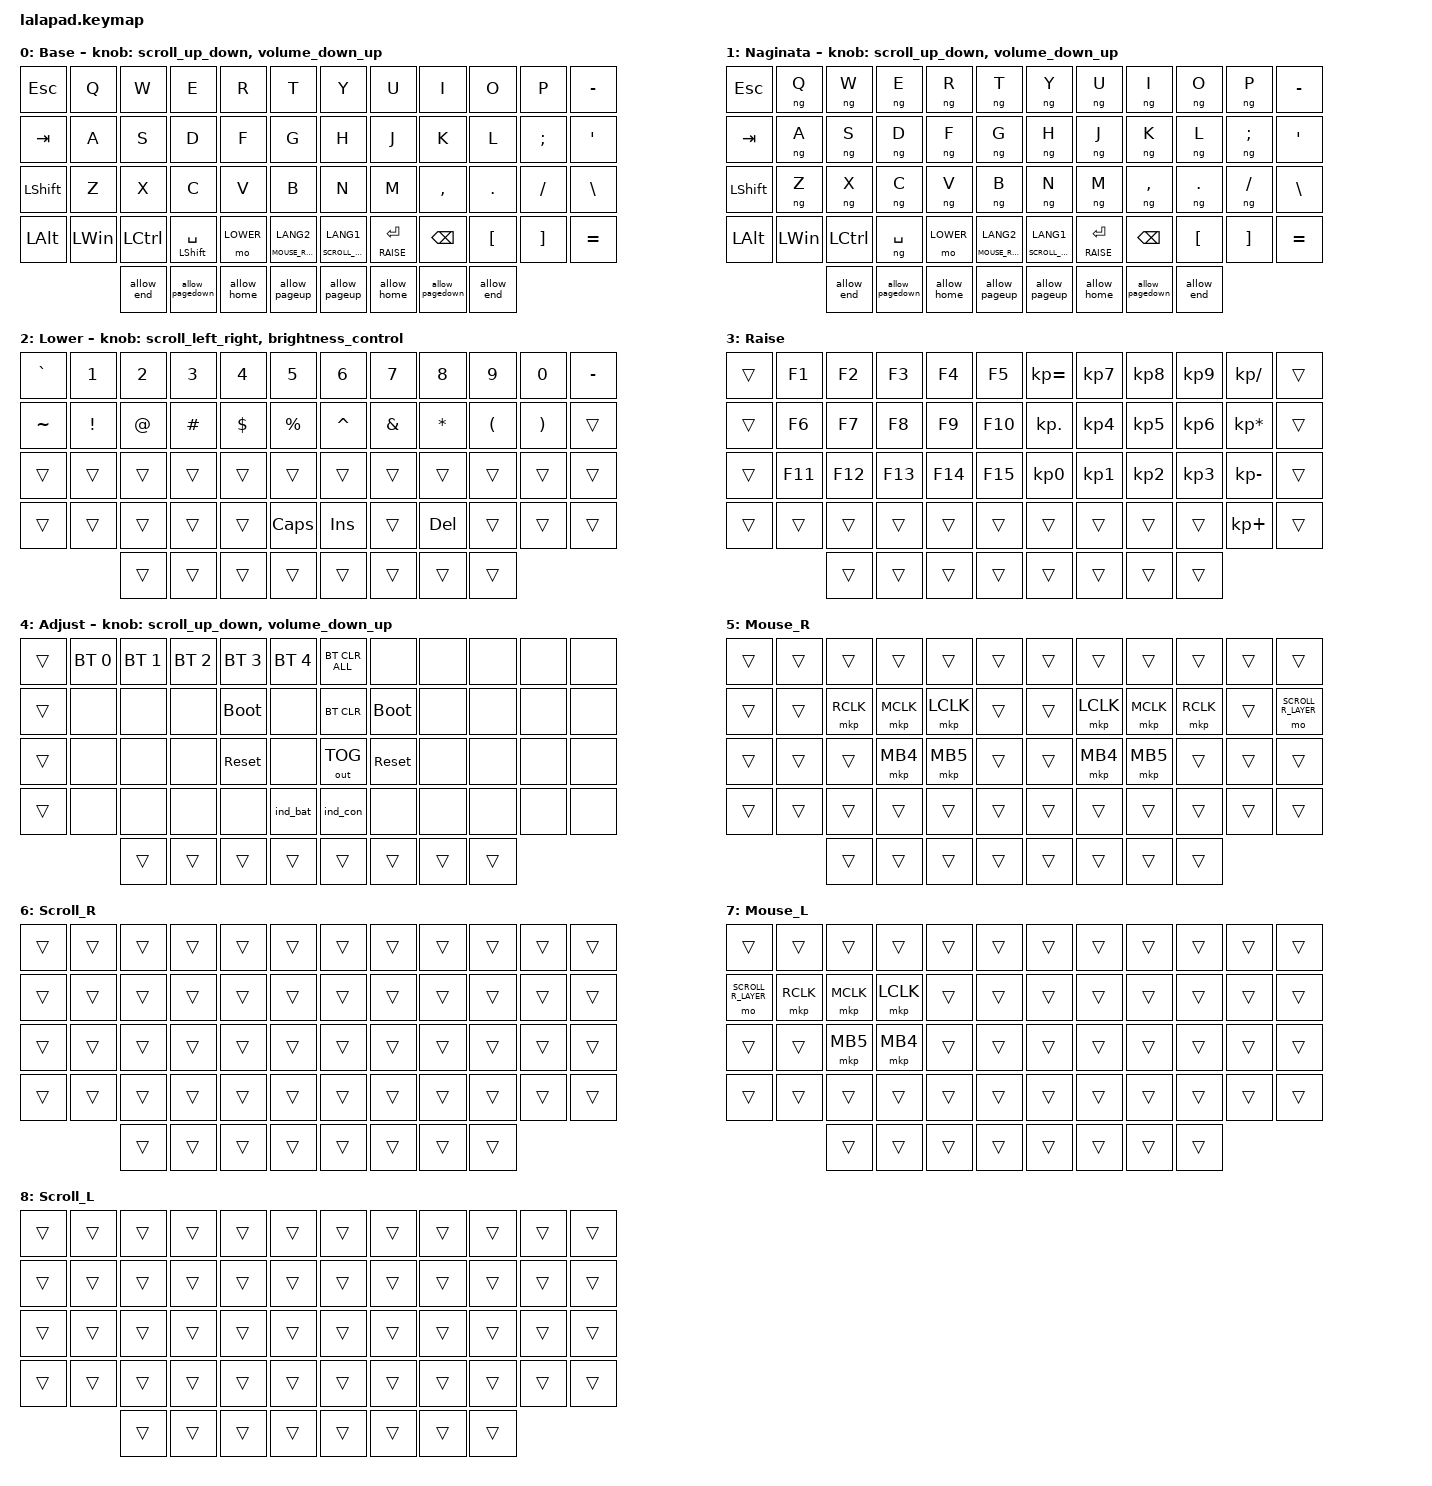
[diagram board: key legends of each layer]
#include <input/processors.dtsi>
#include <behaviors.dtsi>
#include <dt-bindings/zmk/bt.h>
#include <dt-bindings/zmk/keys.h>
#include <dt-bindings/zmk/outputs.h>
#include <dt-bindings/zmk/pointing.h>
#include <behaviors/naginata.dtsi>
#include <behaviors/rgbled_widget.dtsi>

#define BASE            0
#define NAGINATA        1
#define LOWER           2
#define RAISE           3
#define ADJUST          4
#define MOUSE_R_LAYER   5
#define SCROLL_R_LAYER  6
#define MOUSE_L_LAYER   7
#define SCROLL_L_LAYER  8

// Mouse Scroll Value
#define ZMK_POINTING_DEFAULT_SCRL_VAL 100

// cirque trackpad input&layer control
&glidepoint_listener_R {
    input-processors =
        <&zip_xy_transform (INPUT_TRANSFORM_XY_SWAP | INPUT_TRANSFORM_X_INVERT | INPUT_TRANSFORM_Y_INVERT)>,
        <&zip_xy_scaler 3 2>,
        <&zip_temp_layer MOUSE_R_LAYER 500>;

    lowspeedmode {
        layers = <LOWER>;
        input-processors =
            <&zip_xy_transform (INPUT_TRANSFORM_XY_SWAP | INPUT_TRANSFORM_X_INVERT | INPUT_TRANSFORM_Y_INVERT)>,
            <&zip_xy_scaler 3 5>,
            <&zip_temp_layer MOUSE_R_LAYER 500>;
    };

    scroller {
        layers = <SCROLL_R_LAYER>;
        input-processors =
            <&zip_xy_to_scroll_mapper>,
            <&zip_scroll_transform (INPUT_TRANSFORM_XY_SWAP | INPUT_TRANSFORM_Y_INVERT)>,
            <&zip_scroll_scaler 1 8>;
    };
};

&glidepoint_listener_L {
    input-processors =
        <&zip_xy_transform (INPUT_TRANSFORM_XY_SWAP | INPUT_TRANSFORM_X_INVERT | INPUT_TRANSFORM_Y_INVERT)>,
        <&zip_xy_scaler 3 2>,
        <&zip_temp_layer MOUSE_L_LAYER 500>;

    lowspeedmode {
        layers = <LOWER>;
        input-processors =
            <&zip_xy_transform (INPUT_TRANSFORM_XY_SWAP | INPUT_TRANSFORM_X_INVERT | INPUT_TRANSFORM_Y_INVERT)>,
            <&zip_xy_scaler 3 4>,
            <&zip_temp_layer MOUSE_L_LAYER 500>;
    };

    scroller {
        layers = <SCROLL_L_LAYER>;
        input-processors =
            <&zip_xy_to_scroll_mapper>,
            <&zip_scroll_transform (INPUT_TRANSFORM_XY_SWAP | INPUT_TRANSFORM_Y_INVERT)>,
            <&zip_scroll_scaler 1 6>;
    };
};

/ {
    conditional_layers {
        compatible = "zmk,conditional-layers";

        tri_layer {
            if-layers = <2 3>;
            then-layer = <4>;
        };
    };

    behaviors {
        // Encoder to Mouse Scroll

        scroll_up_down: sensor_scroll_up_down {
            compatible = "zmk,behavior-sensor-rotate";
            #sensor-binding-cells = <0>;
            bindings = <&msc SCRL_UP>, <&msc SCRL_DOWN>;

            tap-ms = <20>;
            label = "SCROLL_UP_DOWN";
        };

        scroll_down_up: sensor_scroll_down_up {
            compatible = "zmk,behavior-sensor-rotate";
            #sensor-binding-cells = <0>;
            bindings = <&msc SCRL_DOWN>, <&msc SCRL_UP>;

            tap-ms = <20>;
            label = "SCROLL_DOWN_UP";
        };

        scroll_left_right: sensor_scroll_left_right {
            compatible = "zmk,behavior-sensor-rotate";
            #sensor-binding-cells = <0>;
            bindings = <&msc SCRL_LEFT>, <&msc SCRL_RIGHT>;

            tap-ms = <20>;
            label = "SCROLL_LEFT_RIGHT";
        };

        scroll_right_left: sensor_scroll_right_left {
            compatible = "zmk,behavior-sensor-rotate";
            #sensor-binding-cells = <0>;
            bindings = <&msc SCRL_RIGHT>, <&msc SCRL_LEFT>;

            tap-ms = <20>;
            label = "SCROLL_RIGHT_LEFT";
        };

        volume_down_up: sensor_volume_down_up {
            compatible = "zmk,behavior-sensor-rotate";
            #sensor-binding-cells = <0>;
            bindings = <&kp C_VOLUME_DOWN>, <&kp C_VOLUME_UP>;

            tap-ms = <20>;
            label = "VOLUME_DOWN_UP";
        };

        dot_comma: dot_comma {
            compatible = "zmk,behavior-mod-morph";
            #binding-cells = <0>;
            bindings = <&kp KP_DOT>, <&kp COMMA>;

            mods = <(MOD_LSFT|MOD_RSFT)>;
            label = "DOT_COMMA";
        };

        pls_minus: pls_minus {
            compatible = "zmk,behavior-mod-morph";
            #binding-cells = <0>;
            bindings = <&kp PLUS>, <&kp MINUS>;

            mods = <(MOD_LSFT|MOD_RSFT)>;
            label = "PLS_MINUS";
        };

        allow_pageup: allow_pageup {
            compatible = "zmk,behavior-mod-morph";
            #binding-cells = <0>;
            bindings = <&kp UP>, <&kp PAGE_UP>;

            mods = <(MOD_LCTL|MOD_RCTL)>;
            label = "ALLOW_PAGEUP";
        };

        allow_pagedown: allow_pagedown {
            compatible = "zmk,behavior-mod-morph";
            #binding-cells = <0>;
            bindings = <&kp DOWN>, <&kp PAGE_DOWN>;

            mods = <(MOD_LCTL|MOD_RCTL)>;
            label = "ALLOW_PAGEDOWN";
        };

        allow_home: allow_home {
            compatible = "zmk,behavior-mod-morph";
            #binding-cells = <0>;
            bindings = <&kp LEFT>, <&kp HOME>;

            mods = <(MOD_LCTL|MOD_RCTL)>;
            label = "ALLOW_HOME";
        };

        allow_end: allow_end {
            compatible = "zmk,behavior-mod-morph";
            #binding-cells = <0>;
            bindings = <&kp RIGHT>, <&kp END>;

            mods = <(MOD_LCTL|MOD_RCTL)>;
            label = "ALLOW_END";
        };

        mt2: mod_tap2 {
            compatible = "zmk,behavior-hold-tap";
            #binding-cells = <2>;
            flavor = "tap-preferred";
            tapping-term-ms = <200>;
            quick-tap-ms = <200>;
            require-prior-idle-ms = <125>;
            bindings = <&kp>, <&kp>;
        };

        brightness_control: brightness_control {
            compatible = "zmk,behavior-sensor-rotate";
            label = "BRIGHTNESS_CONTROL";
            #sensor-binding-cells = <0>;
            bindings = <&brightness_decrement>, <&brightness_increment>;
        };

        SandS: SandS {
            compatible = "zmk,behavior-hold-tap";
            #binding-cells = <2>;
            flavor = "tap-unless-interrupted";
            tapping-term-ms = <500>; // tap-unless-interruptedのため意味は無いが、設定しないとエラーはく
            quick-tap-ms = <500>;
            bindings = <&kp>, <&kp>;
            display-name = "SandS";
        };
    };

    macros {
        brightness_increment: brightness_increment {
            compatible = "zmk,behavior-macro";
            #binding-cells = <0>;
            bindings =
                <&macro_press>,
                <&kp LEFT_ALT>,
                <&macro_tap>,
                <&kp F2>,
                <&macro_release>,
                <&kp LEFT_ALT>;

            label = "BRIGHTNESS_INCREMENT";
        };

        brightness_decrement: brightness_decrement {
            compatible = "zmk,behavior-macro";
            #binding-cells = <0>;
            bindings =
                <&macro_press>,
                <&kp LEFT_ALT>,
                <&macro_tap>,
                <&kp F1>,
                <&macro_release>,
                <&kp LEFT_ALT>;

            label = "BRIGHTNESS_DECREMENT";
        };

        ng_on: ng_on {
            compatible = "zmk,behavior-macro";
            #binding-cells = <0>;
            bindings = <&macro_tap>, <&kp LANGUAGE_1 &to NAGINATA>;
        };

        ng_off: ng_off {
            compatible = "zmk,behavior-macro";
            #binding-cells = <0>;
            bindings = <&macro_tap>, <&kp LANGUAGE_2 &to BASE>;
        };
    };

    combos {
        compatible = "zmk,combos";

        combo_ng_on {
            timeout-ms = <300>;
            key-positions = <18 19>;
            bindings = <&ng_on>;
            layers = <0 1>; // default: <0>
        };

        combo_ng_off {
            timeout-ms = <300>;
            key-positions = <16 17>;
            bindings = <&ng_off>;
            layers = <0 1>;
        };
    };

    keymap {
        compatible = "zmk,keymap";

        BASE_LAYER{
            display-name = "Base";
            sensor-bindings = <&scroll_up_down>, <&volume_down_up>;

            bindings = <
&kp ESC       &kp Q         &kp W       &kp E            &kp R                &kp T                     &kp Y                   &kp U        &kp I            &kp O             &kp P              &kp MINUS
&kp TAB       &kp A         &kp S       &kp D            &kp F                &kp G                     &kp H                   &kp J        &kp K            &kp L             &kp SEMI           &kp SINGLE_QUOTE
&kp LSHFT     &kp Z         &kp X       &kp C            &kp V                &kp B                     &kp N                   &kp M        &kp COMMA        &kp PERIOD        &kp SLASH          &kp BSLH
&kp LEFT_ALT  &kp LEFT_WIN  &kp LCTRL   &SandS LSHFT SPACE        &mo LOWER  &lt MOUSE_R_LAYER LANG2  &lt SCROLL_R_LAYER LANG1  &lt RAISE ENTER  &kp BACKSPACE    &kp LEFT_BRACKET  &kp RIGHT_BRACKET  &kp EQUAL
                            &allow_end  &allow_pagedown  &allow_home          &allow_pageup             &allow_pageup           &allow_home  &allow_pagedown  &allow_end
            >;
        };

        NAGINATA_LAYER{
            display-name = "Naginata";
            sensor-bindings = <&scroll_up_down>, <&volume_down_up>;

            bindings = <
&kp ESC       &ng Q         &ng W       &ng E            &ng R                &ng T                     &ng Y                   &ng U        &ng I            &ng O             &ng P              &kp MINUS
&kp TAB       &ng A         &ng S       &ng D            &ng F                &ng G                     &ng H                   &ng J        &ng K            &ng L             &ng SEMI           &kp SINGLE_QUOTE
&kp LSHFT     &ng Z         &ng X       &ng C            &ng V                &ng B                     &ng N                   &ng M        &ng COMMA        &ng PERIOD        &ng SLASH          &kp BSLH
&kp LEFT_ALT  &kp LEFT_WIN  &kp LCTRL   &ng SPACE        &mo LOWER  &lt MOUSE_R_LAYER LANG2  &lt SCROLL_R_LAYER LANG1  &lt RAISE ENTER  &kp BACKSPACE    &kp LEFT_BRACKET  &kp RIGHT_BRACKET  &kp EQUAL
                            &allow_end  &allow_pagedown  &allow_home          &allow_pageup             &allow_pageup           &allow_home  &allow_pagedown  &allow_end
            >;
        };

        LOWER_LAYER {
            display-name = "Lower";
            sensor-bindings = <&scroll_left_right>, <&brightness_control>;

            bindings = <
&kp GRAVE  &kp NUMBER_1     &kp NUMBER_2  &kp NUMBER_3  &kp NUMBER_4  &kp NUMBER_5  &kp NUMBER_6  &kp NUMBER_7  &kp NUMBER_8  &kp NUMBER_9          &kp NUMBER_0           &kp MINUS
&kp TILDE  &kp EXCLAMATION  &kp AT        &kp HASH      &kp DOLLAR    &kp PERCENT   &kp CARET     &kp AMPS      &kp ASTERISK  &kp LEFT_PARENTHESIS  &kp RIGHT_PARENTHESIS  &trans
&trans     &trans           &trans        &trans        &trans        &trans        &trans        &trans        &trans        &trans                &trans                 &trans
&trans     &trans           &trans        &trans        &trans        &kp CAPS      &kp INS       &trans        &kp DELETE    &trans                &trans                 &trans
                            &trans        &trans        &trans        &trans        &trans        &trans        &trans        &trans
            >;
        };

        RAISE_LAYER {
            display-name = "Raise";
            bindings = <
&trans  &kp F1   &kp F2   &kp F3   &kp F4   &kp F5   &kp KP_EQUAL     &kp KP_NUMBER_7  &kp KP_NUMBER_8  &kp KP_NUMBER_9  &kp KP_DIVIDE    &trans
&trans  &kp F6   &kp F7   &kp F8   &kp F9   &kp F10  &kp KP_DOT       &kp KP_NUMBER_4  &kp KP_NUMBER_5  &kp KP_NUMBER_6  &kp KP_MULTIPLY  &trans
&trans  &kp F11  &kp F12  &kp F13  &kp F14  &kp F15  &kp KP_NUMBER_0  &kp KP_NUMBER_1  &kp KP_NUMBER_2  &kp KP_NUMBER_3  &kp KP_MINUS     &trans
&trans  &trans   &trans   &trans   &trans   &trans   &trans           &trans           &trans           &trans           &kp KP_PLUS      &trans
                 &trans   &trans   &trans   &trans   &trans           &trans           &trans           &trans
            >;
        };

        ADJUST_LAYER {
            display-name = "Adjust";
            sensor-bindings = <&scroll_up_down>, <&volume_down_up>;

            bindings = <
&trans  &bt BT_SEL 0  &bt BT_SEL 1  &bt BT_SEL 2  &bt BT_SEL 3  &bt BT_SEL 4  &bt BT_CLR_ALL  &none        &none  &none  &none  &none
&trans  &none         &none         &none         &bootloader   &none         &bt BT_CLR      &bootloader  &none  &none  &none  &none
&trans  &none         &none         &none         &sys_reset    &none         &out OUT_TOG    &sys_reset   &none  &none  &none  &none
&trans  &none         &none         &none         &none         &ind_bat      &ind_con        &none        &none  &none  &none  &none
                      &trans        &trans        &trans        &trans        &trans         &trans        &trans &trans
            >; 
        };

        MOUSE_R_LAYER {
            display-name = "Mouse_R";
            bindings = <
&trans  &trans  &trans  &trans  &trans  &trans  &trans  &trans     &trans     &trans     &trans  &trans
&trans  &trans  &mkp RCLK  &mkp MCLK  &mkp LCLK  &trans  &trans  &mkp LCLK  &mkp MCLK  &mkp RCLK  &trans  &mo SCROLL_R_LAYER
&trans  &trans  &trans  &mkp MB4  &mkp MB5  &trans  &trans  &mkp MB4   &mkp MB5   &trans     &trans  &trans
&trans  &trans  &trans  &trans  &trans  &trans  &trans  &trans     &trans     &trans     &trans  &trans
                &trans  &trans  &trans  &trans  &trans  &trans     &trans     &trans
            >;
        };

        SCROLL_R_LAYER {
            display-name = "Scroll_R";
            bindings = <
&trans  &trans  &trans  &trans  &trans  &trans  &trans  &trans  &trans  &trans  &trans  &trans
&trans  &trans  &trans  &trans  &trans  &trans  &trans  &trans  &trans  &trans  &trans  &trans
&trans  &trans  &trans  &trans  &trans  &trans  &trans  &trans  &trans  &trans  &trans  &trans
&trans  &trans  &trans  &trans  &trans  &trans  &trans  &trans  &trans  &trans  &trans  &trans
                &trans  &trans  &trans  &trans  &trans  &trans  &trans  &trans
            >;
        };

        MOUSE_L_LAYER {
            display-name = "Mouse_L";
            bindings = <
&trans              &trans     &trans     &trans     &trans  &trans  &trans  &trans  &trans  &trans  &trans  &trans
&mo SCROLL_R_LAYER  &mkp RCLK  &mkp MCLK  &mkp LCLK  &trans  &trans  &trans  &trans  &trans  &trans  &trans  &trans
&trans              &trans     &mkp MB5   &mkp MB4   &trans  &trans  &trans  &trans  &trans  &trans  &trans  &trans
&trans              &trans     &trans     &trans     &trans  &trans  &trans  &trans  &trans  &trans  &trans  &trans
                               &trans     &trans     &trans  &trans  &trans  &trans  &trans  &trans
            >;
        };

        SCROLL_L_LAYER {
            display-name = "Scroll_L";
            bindings = <
&trans  &trans  &trans  &trans  &trans  &trans  &trans  &trans  &trans  &trans  &trans  &trans
&trans  &trans  &trans  &trans  &trans  &trans  &trans  &trans  &trans  &trans  &trans  &trans
&trans  &trans  &trans  &trans  &trans  &trans  &trans  &trans  &trans  &trans  &trans  &trans
&trans  &trans  &trans  &trans  &trans  &trans  &trans  &trans  &trans  &trans  &trans  &trans
                &trans  &trans  &trans  &trans  &trans  &trans  &trans  &trans
            >;
        };
    };
};
